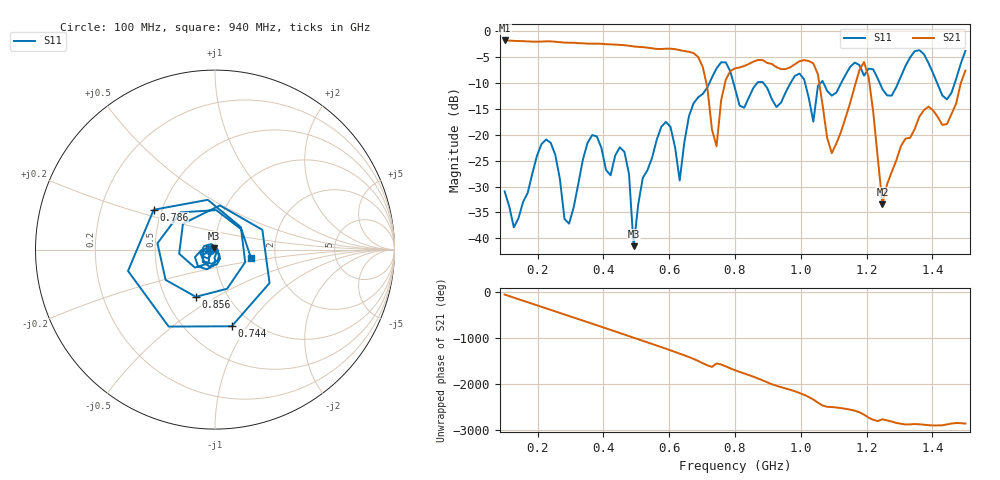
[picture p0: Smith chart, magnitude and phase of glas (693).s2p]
! NanoVNA-App
! Date: 2025-09-25 16:00:52
! Start: 100MHz Stop: 1,5GHz Points: 101
! S-Parameter data: F S11 S21 S12 S22
# Hz S RI R 50
!  Frequency  S11_Real  S11_Imag  S21_Real  S21_Imag  S12_Real  S12_Imag  S22_Real  S22_Imag
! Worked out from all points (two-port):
!   101 points, 100 MHz to 1.5 GHz, reference 50 ohm
!   highest |S21| = -1.80 dB at 100 MHz (marker M1); lowest = -33.4 dB at 1.248 GHz (marker M2)
!   |S21| within 3 dB of the highest: start of sweep to 684.6 MHz
!   lowest |S11| = -41.5 dB at 492 MHz (marker M3), VSWR 1.02, Z = 49.5 + j0.654 ohm
!   |S11| at or under -10 dB: start of sweep to 722.4 MHz; 795.5 MHz to 867.8 MHz (72.28 MHz wide, 8.69 % of centre); 886.1 MHz to 968.9 MHz (82.79 MHz wide, 8.93 % of centre) (the widest 3 of 7)
!   S12 and S22 are empty: the file has one direction only
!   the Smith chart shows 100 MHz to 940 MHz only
!   S11 on the Smith chart (normalised r, x): 100 MHz: 0.94, -0.01; 744 MHz: 0.81, -0.85; 786 MHz: 0.45, +0.24; 856 MHz: 0.71, -0.41; 940 MHz: 1.49, -0.14
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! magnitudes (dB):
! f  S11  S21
! 100 MHz  -30.9  -1.8
! 128 MHz  -37.9  -1.9
! 226 MHz  -20.9  -2.0
! 296 MHz  -37.2  -2.2
! 338 MHz  -24.7  -2.3
! 464 MHz  -23.3  -2.7
! 492 MHz  -41.5  -3.0
! 576 MHz  -18.5  -3.5
! 632 MHz  -28.8  -3.7
! 702 MHz  -12.1  -6.9
! 744 MHz  -7.2  -22.2
! 786 MHz  -7.8  -7.7
! 800 MHz  -11.1  -7.2
! 856 MHz  -10.9  -5.9
! 940 MHz  -13.8  -7.3
! 996 MHz  -8.2  -5.8
! 1.038 GHz  -17.5  -6.2
! 1.094 GHz  -12.5  -23.6
! 1.192 GHz  -8.6  -6.0
! 1.248 GHz  -11.2  -33.4
! 1.276 GHz  -12.5  -27.2
! 1.5 GHz  -3.8  -7.6
